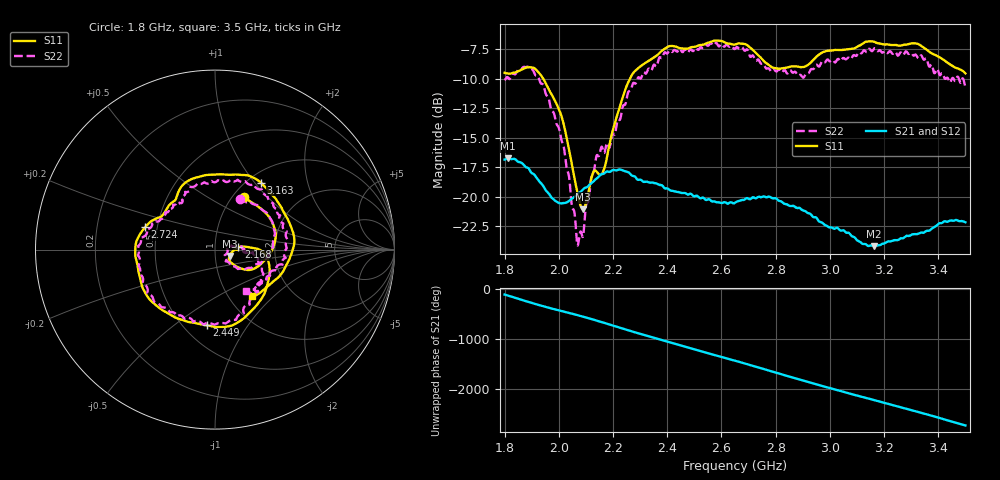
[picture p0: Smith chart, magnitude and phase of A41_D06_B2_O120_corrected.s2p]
! Created with skrf 1.9.0 (http://scikit-rf.org).
# Hz S RI R 50.0
!freq ReS11 ImS11 ReS21 ImS21 ReS12 ImS12 ReS22 ImS22
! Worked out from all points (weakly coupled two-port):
!   1601 points, 1.8 GHz to 3.5 GHz, reference 50 ohm
!   highest |S21| = -16.77 dB at 1.813 GHz (marker M1); lowest = -24.2 dB at 3.162 GHz (marker M2)
!   lowest |S11| = -21.1 dB at 2.089 GHz (marker M3), VSWR 1.19, Z = 58.6 - j4.16 ohm
!   |S11| at or under -10 dB: 1.942 GHz to 2.263 GHz (320.3 MHz wide, 15.2 % of centre)
!   |S22| runs from -24.2 to -7.0 dB; largest |S21 - S12| = 0.0023
!   S11 on the Smith chart (normalised r, x): 1.8 GHz: 1.12, +0.74; 2.168 GHz: 1.30, +0.03; 2.449 GHz: 0.64, -0.66; 2.724 GHz: 0.43, +0.13; 3.163 GHz: 1.15, +1.08; 3.5 GHz: 1.28, -0.75
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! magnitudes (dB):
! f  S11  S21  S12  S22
! 1.8 GHz  -9.5  -16.9  -16.9  -10.1
! 1.813 GHz  -9.6  -16.8  -16.8  -9.9
! 1.882 GHz  -9.1  -17.5  -17.5  -9.0
! 1.942 GHz  -10.0  -19.1  -19.1  -10.5
! 2.011 GHz  -13.3  -20.6  -20.6  -15.4
! 2.067 GHz  -19.5  -19.8  -19.8  -23.8
! 2.084 GHz  -21.0  -19.5  -19.5  -23.1
! 2.089 GHz  -21.1  -19.4  -19.4  -23.4
! 2.133 GHz  -17.8  -18.6  -18.6  -17.4
! 2.168 GHz  -17.6  -18.0  -18.0  -16.3
! 2.259 GHz  -10.2  -18.0  -18.0  -11.1
! 2.367 GHz  -7.9  -19.0  -18.9  -8.4
! 2.449 GHz  -7.4  -19.7  -19.7  -7.5
! 2.65 GHz  -7.1  -20.5  -20.5  -7.5
! 2.724 GHz  -7.8  -20.1  -20.1  -8.4
! 2.8 GHz  -9.1  -20.1  -20.1  -9.4
! 2.934 GHz  -8.5  -21.6  -21.6  -9.2
! 3.162 GHz  -6.9  -24.2  -24.1  -7.5
! 3.163 GHz  -6.9  -24.2  -24.2  -7.5
! 3.217 GHz  -7.1  -23.8  -23.8  -7.7
! 3.324 GHz  -7.1  -23.2  -23.1  -8.2
! 3.5 GHz  -9.6  -22.2  -22.2  -10.8
